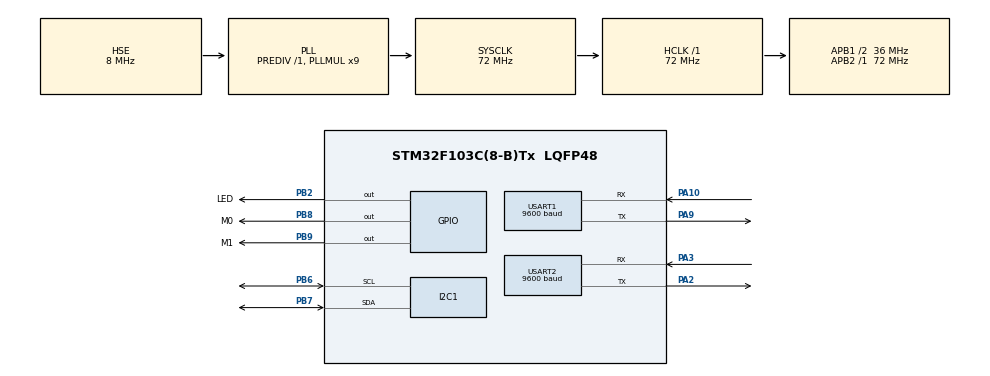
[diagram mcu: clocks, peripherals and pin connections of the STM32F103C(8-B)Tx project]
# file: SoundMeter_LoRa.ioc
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I2C1.I2C_Mode=I2C_Fast
Mcu.Family=STM32F1
Mcu.Name=STM32F103C(8-B)Tx
Mcu.Package=LQFP48
NVIC.PriorityGroup=NVIC_PRIORITYGROUP_4
NVIC.USART1_IRQn=true\:0\:0\:false\:false\:true\:true\:true\:true
NVIC.USART2_IRQn=true\:0\:0\:false\:false\:true\:true\:true\:true
PA10.Mode=Asynchronous
PA10.Signal=USART1_RX
PA13.Mode=Serial_Wire
PA13.Signal=SYS_JTMS-SWDIO
PA14.Mode=Serial_Wire
PA14.Signal=SYS_JTCK-SWCLK
PA2.Mode=Asynchronous
PA2.Signal=USART2_TX
PA3.Mode=Asynchronous
PA3.Signal=USART2_RX
PA9.Mode=Asynchronous
PA9.Signal=USART1_TX
PB2.GPIO_Label=LED
PB2.Signal=GPIO_Output
PB6.Mode=I2C
PB6.Signal=I2C1_SCL
PB7.Mode=I2C
PB7.Signal=I2C1_SDA
PB8.GPIO_Label=M0
PB8.Signal=GPIO_Output
PB9.GPIO_Label=M1
PB9.Signal=GPIO_Output
PD0-OSC_IN.Mode=HSE-External-Oscillator
PD0-OSC_IN.Signal=RCC_OSC_IN
PD1-OSC_OUT.Mode=HSE-External-Oscillator
PD1-OSC_OUT.Signal=RCC_OSC_OUT
ProjectManager.HeapSize=0x200
ProjectManager.StackSize=0x400
ProjectManager.TargetToolchain=STM32CubeIDE
RCC.AHBFreq_Value=72000000
RCC.APB1CLKDivider=RCC_HCLK_DIV2
RCC.APB1Freq_Value=36000000
RCC.APB1TimFreq_Value=72000000
RCC.APB2Freq_Value=72000000
RCC.APB2TimFreq_Value=72000000
RCC.HCLKFreq_Value=72000000
RCC.PLLMUL=RCC_PLL_MUL9
RCC.PLLSourceVirtual=RCC_PLLSOURCE_HSE
RCC.SYSCLKFreq_VALUE=72000000
RCC.SYSCLKSource=RCC_SYSCLKSOURCE_PLLCLK
RCC.USBFreq_Value=72000000
USART1.BaudRate=9600
USART1.VirtualMode=VM_ASYNC
USART2.BaudRate=9600
USART2.VirtualMode=VM_ASYNC
board=custom

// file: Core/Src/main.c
/* USER CODE BEGIN Header */
/**
  ******************************************************************************
  * @file           : main.c
  * @brief          : Main program body
  ******************************************************************************
  * @attention
  *
  * Copyright (c) 2025 STMicroelectronics.
  * All rights reserved.
  *
  * This software is licensed under terms that can be found in the LICENSE file
  * in the root directory of this software component.
  * If no LICENSE file comes with this software, it is provided AS-IS.
  *
  ******************************************************************************
  */
/* USER CODE END Header */
#include "main.h"

/* USER CODE BEGIN Includes */

#include <stdio.h>
#include <stdbool.h>
#include <string.h>
#include <stdlib.h>
#include <math.h>
#include "lora.h"
#include "oled_display/SH1106.h"
#include "oled_display/fonts.h"
#include "oled_display/bitmap.h"
#include "sound_meter/svan958a.h"

/* USER CODE END Includes */

/* USER CODE BEGIN PD */

#define TRANSMITTER		0
#define RECEIVER		1

/* USER CODE END PD */

I2C_HandleTypeDef hi2c1;

UART_HandleTypeDef huart1;
UART_HandleTypeDef huart2;

/* USER CODE BEGIN PV */

uint8_t init_cplt_flag = ERROR;
uint8_t over_flag = ERROR;
uint8_t packet_ready = ERROR;
uint8_t rx_buff;
uint8_t rx_count = 0;
uint8_t buffer[MAX_BYTES] = {0};

uint8_t rxIndex = 0;
uint8_t dataReceived = 0;
uint8_t rxBuffer[15] = {0};

/* USER CODE END PV */

void SystemClock_Config(void);
static void MX_GPIO_Init(void);
static void MX_USART1_UART_Init(void);
static void MX_I2C1_Init(void);
static void MX_USART2_UART_Init(void);
/* USER CODE BEGIN PFP */

void HAL_UART_RxCpltCallback(UART_HandleTypeDef *huart);
void HAL_UART_TxCpltCallback(UART_HandleTypeDef *huart);

/* USER CODE END PFP */

/* USER CODE BEGIN 0 */

void HAL_UART_RxCpltCallback(UART_HandleTypeDef *huart)
{
#if RECEIVER
	if ((huart == &huart1) && (init_cplt_flag == SUCCESS))
	{
		buffer[rx_count++] = rx_buff;

		if (rx_count == PACKET_LENGTH)
		{
			packet_ready = SUCCESS;
		}

		/* Continue receiving */
		HAL_UART_Receive_IT(&huart1,(uint8_t *)&rx_buff, 1);
	}
#elif TRANSMITTER
	if (huart == &SVAN_UART_HANDLE)
	{
		if (rxBuffer[rxIndex] == '\n')
		{
			dataReceived = 1;
		}
		else
		{
			rxIndex++;
			if (rxIndex >= 12)
			{
				rxIndex = 0;
			}
		}

		HAL_UART_Receive_IT(&huart2, (uint8_t *)&rxBuffer[rxIndex], 1);
	}
#endif
}

void HAL_UART_TxCpltCallback(UART_HandleTypeDef *huart)
{

}

/* USER CODE END 0 */

int main(void)
{
  /* USER CODE BEGIN 1 */

#if TRANSMITTER
	uint8_t command[] = "LPO?\r\n";
	static uint32_t previousCount;
	static uint32_t deviceTimeoutCount;
	char noiseData[6];
#endif

#if RECEIVER
	static bool clearScreen = false;
	static float noiseMaxValue = 0.0;
	uint8_t bufferMaxVal[50];
#endif

#define TRASNSPARENT	1
#define RELAY			0
#define WOR				0

#if TRASNSPARENT
//	uint8_t transparent_string[] = "This is a transparent message\r\n";
#elif RELAY
	uint8_t relay_string[] = "This is a relay message\r\n";
#elif WOR
	uint8_t wor_string[] = "This is a wor message\r\n";
#endif

  /* USER CODE END 1 */

  /* MCU Configuration--------------------------------------------------------*/

  /* Reset of all peripherals, Initializes the Flash interface and the Systick. */
  HAL_Init();

  /* Configure the system clock */
  SystemClock_Config();

  /* Initialize all configured peripherals */
  MX_GPIO_Init();
  MX_USART1_UART_Init();
  MX_I2C1_Init();
  MX_USART2_UART_Init();
  /* USER CODE BEGIN 2 */

  HAL_Delay(1000); //don't delete wait for lora reset

#if TRASNSPARENT
  while(ERROR == lora_cfg_mode(TRANSPARENT_MODE))
  {
	  HAL_Delay(500);
  }
#elif RELAY
  while(ERROR == lora_cfg_mode(RELAY_MODE))
  {
	  HAL_Delay(500);
  }
#elif WOR
  while(ERROR == lora_cfg_mode(WOR_TRANSMISSION_MODE))
  {
	  HAL_Delay(500);
  }
#endif

  	HAL_Delay(100);

#if RECEIVER
  	// Initialize LoRa for reception
  	HAL_UART_Receive_IT(&huart1, (uint8_t *)&rx_buff, 1);

  	// Initialize display driver
  	SH1106_Init();

  	// Startup display
  	SH1106_GotoXY (25, 25);
	SH1106_Puts((char *)"ESCORTS", &Font_11x18, 1);
	SH1106_UpdateScreen();
	HAL_Delay(3000);
	SH1106_Clear();

  	// GUI
  	SH1106_GotoXY (10, 5);
	SH1106_Puts((char *)"Noise (dB)", &Font_7x10, 1);
  	SH1106_GotoXY (20, 20);
  	SH1106_Puts((char *)"0.00", &Font_16x26, 1);
	SH1106_DrawLine(7, 45, 121, 45, 1);
	SH1106_GotoXY (10, 52);
	SH1106_Puts((char *)"MAX", &Font_7x10, 1);
	SH1106_GotoXY (87, 52);
	SH1106_Puts((char *)"0.00", &Font_7x10, 1);

	SH1106_UpdateScreen();

#elif TRANSMITTER
	// Start driver
//	svan_init();
	HAL_UART_Receive_IT(&SVAN_UART_HANDLE, &rxBuffer[rxIndex], 1);

	// Get initial count
	previousCount = HAL_GetTick();
	deviceTimeoutCount = HAL_GetTick();

	// Configure session and START the SVAN
//	svan_config_and_start();
#endif

  /* USER CODE END 2 */

  /* Infinite loop */
  while (1)
  {

    /* USER CODE BEGIN 3 */

#if TRASNSPARENT
//	  if(delay++ > 18000000)
//	  {
//		  lora_send((int8_t *)transparent_string);
//		  delay = 0;
//	  }

#elif RELAY
	  if(delay++ > 18000000)
	  {
		  lora_send((int8_t *)relay_string);
		  delay = 0;
	  }
#elif WOR
	  if(delay++ > 18000000)
	  {
		  delay = 0;
		  lora_send((int8_t *)wor_string);
		  LED_ON();
		  while(delay++ < 30000);
		  LED_OFF();
		  delay = 0;
	  }
#endif

#if TRANSMITTER
	  if(HAL_GetTick() - previousCount > 1000)
	  {
		  HAL_UART_Transmit(&huart2, (uint8_t *)command, strlen((char *)command), HAL_MAX_DELAY);
		  previousCount = HAL_GetTick();
		  LED_Toggle();
	  }

	  if (dataReceived)
	  {
		  dataReceived = 0;

		  // Parse response
		  memcpy((char *)noiseData, (char *)&rxBuffer[1], 6);
		  rxIndex = 0;

		  lora_send((uint8_t *)noiseData);

		  // Reset timeout anchor (we had activity)
		  deviceTimeoutCount = HAL_GetTick();

		  HAL_UART_Receive_IT(&huart2, (uint8_t *)&rxBuffer[rxIndex], 1);

		  memset((char *)rxBuffer, 0x00, strlen((char *)rxBuffer));
	  }
	  else
	  {
		  // If no data received for 5 seconds, send fallback and re-arm timer
		  if ((HAL_GetTick() - deviceTimeoutCount) >= 3000U)
		  {
			  lora_send((uint8_t *)"00.00 ");   		// or "0.0" if that is the required format
			  deviceTimeoutCount = HAL_GetTick(); 		// next fallback in another 5 sec if still idle
		  }
	  }

#endif

#if RECEIVER
	  /* Loop back the received packet (*only for testing purpose*) */
	  if(packet_ready == SUCCESS)
	  {
		  packet_ready = ERROR;

		  if(!clearScreen)
		  {
			  clearScreen = true;
			  SH1106_Clear();
		  }

		  double NoiseValue = atof((char *)buffer);

		  if(NoiseValue > noiseMaxValue)
		  {
			  noiseMaxValue = NoiseValue;
		  }

		  sprintf((char *)buffer, (char *)"%.2f ", NoiseValue);
		  sprintf((char *)bufferMaxVal, (char *)"%.2f ", noiseMaxValue);

		  SH1106_GotoXY (10, 5);
		  SH1106_Puts((char *)"Noise (dB)", &Font_7x10, 1);
		  SH1106_GotoXY (20, 20);
		  SH1106_Puts((char *)buffer, &Font_16x26, 1);
		  SH1106_DrawLine(7, 45, 121, 45, 1);
		  SH1106_GotoXY (10, 52);
		  SH1106_Puts((char *)"MAX", &Font_7x10, 1);
		  SH1106_GotoXY (87, 52);
		  SH1106_Puts((char *)bufferMaxVal, &Font_7x10, 1);

		  SH1106_UpdateScreen();

		  // reset for next packet
		  rx_count = 0;
		  memset((char *)buffer, 0x00, strlen((char *)buffer));
	  }
#endif

  }

  /* USER CODE END 3 */
}

void SystemClock_Config(void)
{
  RCC_OscInitTypeDef RCC_OscInitStruct = {0};
  RCC_ClkInitTypeDef RCC_ClkInitStruct = {0};

  /** Initializes the RCC Oscillators according to the specified parameters
  * in the RCC_OscInitTypeDef structure.
  */
  RCC_OscInitStruct.OscillatorType = RCC_OSCILLATORTYPE_HSE;
  RCC_OscInitStruct.HSEState = RCC_HSE_ON;
  RCC_OscInitStruct.HSEPredivValue = RCC_HSE_PREDIV_DIV1;
  RCC_OscInitStruct.HSIState = RCC_HSI_ON;
  RCC_OscInitStruct.PLL.PLLState = RCC_PLL_ON;
  RCC_OscInitStruct.PLL.PLLSource = RCC_PLLSOURCE_HSE;
  RCC_OscInitStruct.PLL.PLLMUL = RCC_PLL_MUL9;
  if (HAL_RCC_OscConfig(&RCC_OscInitStruct) != HAL_OK)
  {
    Error_Handler();
  }

  /** Initializes the CPU, AHB and APB buses clocks
  */
  RCC_ClkInitStruct.ClockType = RCC_CLOCKTYPE_HCLK|RCC_CLOCKTYPE_SYSCLK
                              |RCC_CLOCKTYPE_PCLK1|RCC_CLOCKTYPE_PCLK2;
  RCC_ClkInitStruct.SYSCLKSource = RCC_SYSCLKSOURCE_PLLCLK;
  RCC_ClkInitStruct.AHBCLKDivider = RCC_SYSCLK_DIV1;
  RCC_ClkInitStruct.APB1CLKDivider = RCC_HCLK_DIV2;
  RCC_ClkInitStruct.APB2CLKDivider = RCC_HCLK_DIV1;

  if (HAL_RCC_ClockConfig(&RCC_ClkInitStruct, FLASH_LATENCY_2) != HAL_OK)
  {
    Error_Handler();
  }
}

static void MX_I2C1_Init(void)
{

  hi2c1.Instance = I2C1;
  hi2c1.Init.ClockSpeed = 400000;
  hi2c1.Init.DutyCycle = I2C_DUTYCYCLE_2;
  hi2c1.Init.OwnAddress1 = 0;
  hi2c1.Init.AddressingMode = I2C_ADDRESSINGMODE_7BIT;
  hi2c1.Init.DualAddressMode = I2C_DUALADDRESS_DISABLE;
  hi2c1.Init.OwnAddress2 = 0;
  hi2c1.Init.GeneralCallMode = I2C_GENERALCALL_DISABLE;
  hi2c1.Init.NoStretchMode = I2C_NOSTRETCH_DISABLE;
  if (HAL_I2C_Init(&hi2c1) != HAL_OK)
  {
    Error_Handler();
  }

}

static void MX_USART1_UART_Init(void)
{

  huart1.Instance = USART1;
  huart1.Init.BaudRate = 9600;
  huart1.Init.WordLength = UART_WORDLENGTH_8B;
  huart1.Init.StopBits = UART_STOPBITS_1;
  huart1.Init.Parity = UART_PARITY_NONE;
  huart1.Init.Mode = UART_MODE_TX_RX;
  huart1.Init.HwFlowCtl = UART_HWCONTROL_NONE;
  huart1.Init.OverSampling = UART_OVERSAMPLING_16;
  if (HAL_UART_Init(&huart1) != HAL_OK)
  {
    Error_Handler();
  }

}

static void MX_USART2_UART_Init(void)
{

  huart2.Instance = USART2;
  huart2.Init.BaudRate = 9600;
  huart2.Init.WordLength = UART_WORDLENGTH_8B;
  huart2.Init.StopBits = UART_STOPBITS_1;
  huart2.Init.Parity = UART_PARITY_NONE;
  huart2.Init.Mode = UART_MODE_TX_RX;
  huart2.Init.HwFlowCtl = UART_HWCONTROL_NONE;
  huart2.Init.OverSampling = UART_OVERSAMPLING_16;
  if (HAL_UART_Init(&huart2) != HAL_OK)
  {
    Error_Handler();
  }

}

static void MX_GPIO_Init(void)
{
  GPIO_InitTypeDef GPIO_InitStruct = {0};

  /* GPIO Ports Clock Enable */
  __HAL_RCC_GPIOD_CLK_ENABLE();
  __HAL_RCC_GPIOA_CLK_ENABLE();
  __HAL_RCC_GPIOB_CLK_ENABLE();

  /*Configure GPIO pin Output Level */
  HAL_GPIO_WritePin(GPIOB, LED_Pin|M0_Pin|M1_Pin, GPIO_PIN_RESET);

  /*Configure GPIO pins : LED_Pin M0_Pin M1_Pin */
  GPIO_InitStruct.Pin = LED_Pin|M0_Pin|M1_Pin;
  GPIO_InitStruct.Mode = GPIO_MODE_OUTPUT_PP;
  GPIO_InitStruct.Pull = GPIO_NOPULL;
  GPIO_InitStruct.Speed = GPIO_SPEED_FREQ_LOW;
  HAL_GPIO_Init(GPIOB, &GPIO_InitStruct);

}

void Error_Handler(void)
{
  __disable_irq();
  while (1)
  {
  }
}
